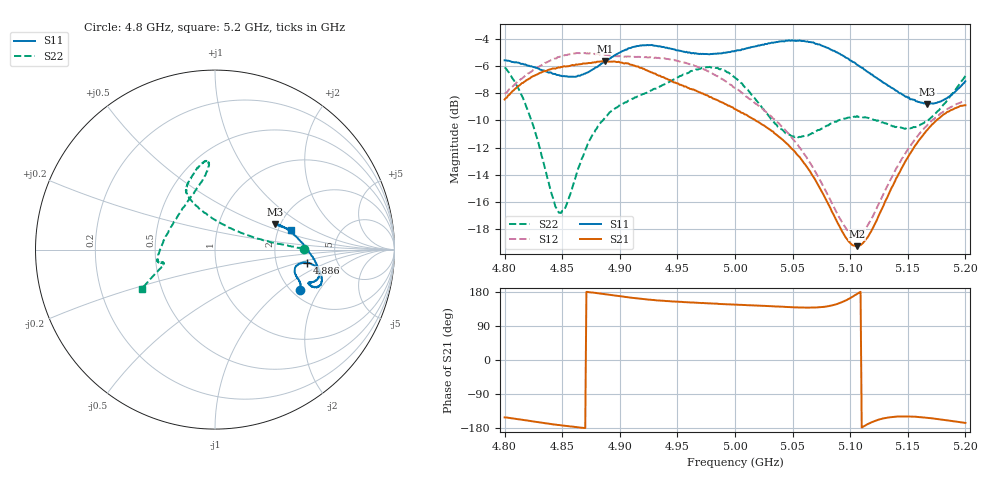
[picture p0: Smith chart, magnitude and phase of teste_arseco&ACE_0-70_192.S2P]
! Network Analyzer HP8722D
! Hewlett-Packard
! Data name: Linha & Wilkinson
! Saver's name: Rodrigo Anjos
! Comments: Teste da utilização de aquisição
! continua pelo VNA HP8722D
! Time and date: 8/5/2025 14:21
!  Frequency  S11  S21  S12  S22
# HZ  S  MA R 50
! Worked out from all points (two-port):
!   401 points, 4.8 GHz to 5.2 GHz, reference 50 ohm
!   highest |S21| = -5.64 dB at 4.887 GHz (marker M1); lowest = -19.2 dB at 5.106 GHz (marker M2)
!   |S21| within 3 dB of the highest: start of sweep to 4.988 GHz
!   lowest |S11| = -8.8 dB at 5.167 GHz (marker M3), VSWR 2.14, Z = 93.8 + j30.6 ohm
!   |S11| at or under -10 dB: nowhere
!   |S22| runs from -16.8 to -6.1 dB; largest |S21 - S12| = 1.1
!   S11 on the Smith chart (normalised r, x): 4.8 GHz: 2.23, -1.38; 4.886 GHz: 3.00, -0.60; 5.2 GHz: 2.36, +0.65
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4.8e9  0.5256 -25.1  0.3774 -151.5  0.3961 8.0  0.495 0.7
4.82e9  0.502 -20.5  0.4464 -159.9  0.4697 5.1  0.3453 5.8
4.846e9  0.4644 -16.5  0.4933 -171.4  0.5399 0.9  0.1483 53.1
4.853e9  0.4588 -14.8  0.4982 -173.9  0.5496 -0.3  0.152 79.7
4.867e9  0.4656 -10.9  0.5093 -178.8  0.5574 -2.4  0.2288 108.5
4.886e9  0.5166 -8.1  0.5198 174.3  0.5517 -3.3  0.319 116.5
4.887e9  0.5206 -8.2  0.5222 173.8  0.5515 -3.2  0.3229 116.6
4.91e9  0.5848 -11.3  0.5063 164.3  0.5413 -2.8  0.3774 115.2
4.934e9  0.5911 -16.5  0.4612 156.8  0.5368 -3.4  0.4176 108.7
4.975e9  0.5544 -19.7  0.3915 149.9  0.4833 -7.2  0.4958 96.4
5e9  0.5693 -20.6  0.348 146.0  0.4162 -7.1  0.454 94.9
5.018e9  0.5924 -20.6  0.3154 144.0  0.3638 -4.4  0.3768 102.7
5.044e9  0.6207 -18.6  0.2623 140.0  0.2899 1.4  0.2836 132.1
5.067e9  0.6115 -14.0  0.199 138.4  0.2146 8.6  0.2844 165.0
5.095e9  0.5428 -4.0  0.1196 155.4  0.1294 35.5  0.321 -172.9
5.106e9  0.506 1.3  0.1091 174.5  0.1198 56.9  0.3279 -169.0
5.117e9  0.4716 6.9  0.1214 -166.7  0.1343 77.5  0.3211 -167.4
5.134e9  0.4223 15.2  0.1715 -151.3  0.1878 94.3  0.303 -166.3
5.152e9  0.378 21.4  0.2387 -149.1  0.2539 99.4  0.2957 -164.5
5.167e9  0.3635 22.9  0.2919 -152.7  0.3039 100.1  0.3163 -161.4
5.183e9  0.3797 20.4  0.3361 -158.7  0.3454 100.0  0.3686 -157.2
5.2e9  0.4404 14.6  0.3595 -166.0  0.3739 100.7  0.4603 -151.8
